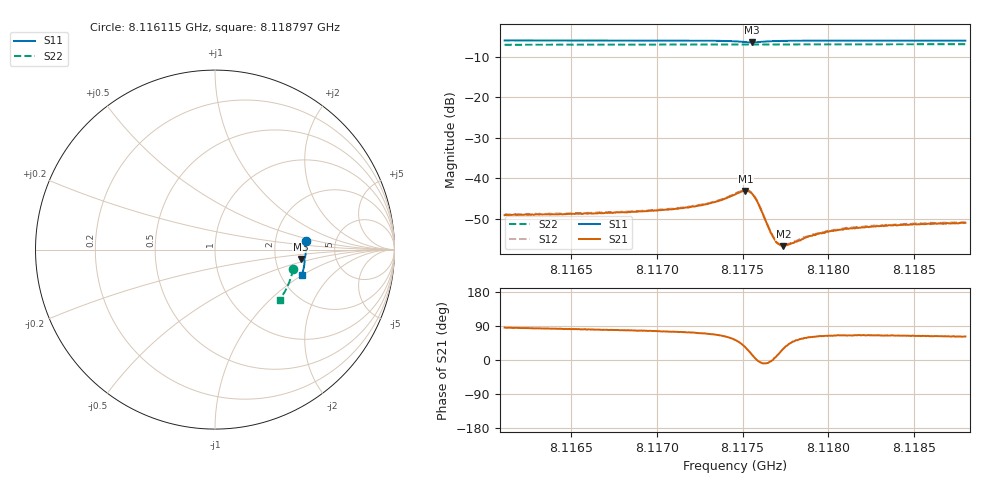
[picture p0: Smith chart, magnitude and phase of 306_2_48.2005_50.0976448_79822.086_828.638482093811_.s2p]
#  HZ  S  RI  R  50.00
! Rohde & Schwarz Vector Network Analyzer
! Rohde-Schwarz,ZNB20-2Port,1311601062101988,3.16
! Created: UTC 3/20/2024, 11:49:47 AM
! freq[Hz]  re:S11  im:S11  re:S21  im:S21  re:S12  im:S12  re:S22  im:S22
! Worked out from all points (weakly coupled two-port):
!   401 points, 8.116115 GHz to 8.118797 GHz, reference 50 ohm
!   highest |S21| = -43.10 dB at 8.117516 GHz (marker M1); lowest = -56.8 dB at 8.117738 GHz (marker M2)
!   lowest |S11| = -6.4 dB at 8.117557 GHz (marker M3), VSWR 2.85, Z = 140 - j18.7 ohm
!   |S11| at or under -10 dB: nowhere
!   |S22| runs from -7.0 to -6.8 dB; largest |S21 - S12| = 0.0002
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8.1161147e9  0.5047 0.0496  0.000267 0.00349  0.000323 0.00352  0.4351 -0.1092
8.116564e9  0.5064 0.0158  0.000573 0.00357  0.000624 0.00365  0.4278 -0.1396
8.1170133e9  0.5052 -0.0191  0.000975 0.00392  0.00105 0.00395  0.4183 -0.1693
8.1171877e9  0.5037 -0.0335  0.00127 0.00418  0.00136 0.00428  0.4139 -0.1809
8.1172883e9  0.5018 -0.0424  0.00167 0.0045  0.00175 0.00457  0.4113 -0.1874
8.1173755e9  0.4987 -0.0511  0.00231 0.00485  0.00242 0.00491  0.4088 -0.1931
8.1174559e9  0.4916 -0.0591  0.00379 0.00509  0.00391 0.00511  0.4062 -0.1982
8.1175163e9  0.4811 -0.0594  0.00583 0.00386  0.00602 0.00384  0.4041 -0.2018
8.1175364e9  0.4782 -0.0561  0.0063 0.00276  0.00647 0.00277  0.4034 -0.2028
8.1175565e9  0.4775 -0.0515  0.00625 0.00145  0.00636 0.00143  0.4028 -0.2038
8.1175901e9  0.4819 -0.0456  0.00493 -0.000205  0.005 -0.00026  0.4023 -0.2055
8.1176504e9  0.4928 -0.0479  0.00247 -0.000325  0.00248 -0.000304  0.4009 -0.2093
8.1176839e9  0.4959 -0.0517  0.00179 0.000148  0.00181 9.53e-05  0.4003 -0.2115
8.1177108e9  0.4972 -0.055  0.00148 0.000422  0.00149 0.000425  0.3994 -0.2134
8.1177376e9  0.4982 -0.0581  0.00126 0.000719  0.0013 0.000721  0.3986 -0.2154
8.1177711e9  0.4987 -0.0618  0.00112 0.00103  0.00114 0.00106  0.3976 -0.2173
8.1178516e9  0.499 -0.0698  0.000987 0.00148  0.00104 0.00154  0.395 -0.2225
8.1179053e9  0.4986 -0.0747  0.000957 0.0017  0.00101 0.00174  0.3934 -0.2258
8.1179991e9  0.4979 -0.0827  0.000954 0.00197  0.000991 0.00203  0.3903 -0.2317
8.118093e9  0.4967 -0.0903  0.000995 0.00216  0.00104 0.00216  0.3871 -0.2373
8.1183546e9  0.4926 -0.1104  0.00113 0.00238  0.00116 0.00242  0.3779 -0.2533
8.1187972e9  0.484 -0.1426  0.00133 0.00248  0.00138 0.0025  0.3606 -0.2794
